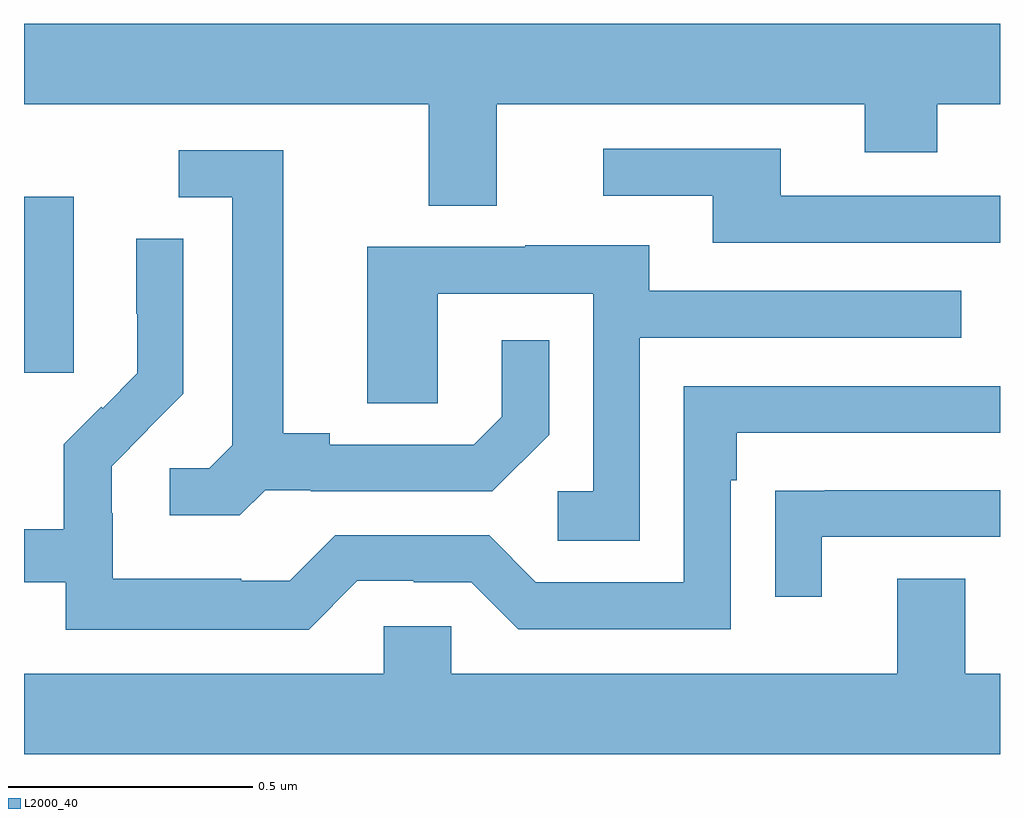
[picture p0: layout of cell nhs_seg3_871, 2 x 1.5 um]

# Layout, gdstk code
import gdstk
lib = gdstk.Library(unit=1e-6, precision=1e-09)
def R(c, l, rs):  # rectangles x0, y0, x1, y1
    for r in rs: c.add(gdstk.rectangle(r[:2], r[2:], *l))
def P(c, l, *ps):  # polygons
    for p in ps: c.add(gdstk.Polygon(p, *l))
L2000_40 = (2000, 40)

nhs_seg3_871 = lib.new_cell('nhs_seg3_871')
R(nhs_seg3_871, L2000_40, [(121,728.337,121.102,728.698)])
P(nhs_seg3_871, L2000_40, [(121.969,728.888),(122.723,728.888),(122.723,728.789),(122.871,728.789),(122.871,728.888),(123,728.888),(123,729.052),(121,729.052),(121,728.888),(121.829,728.888),(121.829,728.68),(121.969,728.68)],
  [(123,728.7),(122.551,728.7),(122.551,728.796),(122.187,728.796),(122.187,728.7),(122.411,728.7),(122.411,728.604),(123,728.604)],
  [(121.494,728.097),(121.588,728.097),(121.588,728.094),(121.96,728.094),(122.076,728.21),(122.076,728.404),(121.979,728.404),(121.979,728.247),(121.922,728.19),(121.627,728.19),(121.627,728.213),(121.531,728.213),(121.531,728.793),(121.317,728.793),(121.317,728.697),(121.427,728.697),(121.427,728.189),(121.38,728.142),(121.299,728.142),(121.299,728.045),(121.442,728.045)],
  [(121.683,727.911),(121.799,727.911),(121.799,727.908),(121.917,727.908),(122.013,727.812),(122.448,727.812),(122.448,728.117),(122.461,728.117),(122.461,728.214),(123,728.214),(123,728.31),(122.352,728.31),(122.352,727.908),(122.049,727.908),(121.953,728.004),(121.638,728.004),(121.545,727.911),(121.445,727.911),(121.445,727.915),(121.182,727.915),(121.182,728.049),(121.18,728.049),(121.18,728.146),(121.254,728.22),(121.253,728.221),(121.326,728.294),(121.326,728.612),(121.23,728.612),(121.23,728.458),(121.232,728.458),(121.232,728.336),(121.161,728.265),(121.158,728.268),(121.081,728.191),(121.081,728.017),(121,728.017),(121,727.908),(121.086,727.908),(121.086,727.811),(121.583,727.811)],
  [(122.262,728.409),(122.921,728.409),(122.921,728.505),(122.281,728.505),(122.281,728.599),(122.027,728.599),(122.027,728.595),(121.703,728.595),(121.703,728.275),(121.848,728.275),(121.848,728.499),(122.166,728.499),(122.166,728.094),(122.094,728.094),(122.094,727.993),(122.262,727.993)],
  [(122.635,728.001),(123,728.001),(123,728.097),(122.641,728.097),(122.641,728.096),(122.539,728.096),(122.539,727.878),(122.635,727.878)],
  [(123,727.72),(122.929,727.72),(122.929,727.915),(122.789,727.915),(122.789,727.72),(121.875,727.72),(121.875,727.818),(121.737,727.818),(121.737,727.72),(121,727.72),(121,727.556),(123,727.556)])

lib.write_gds('nhs_seg3_871.gds')
